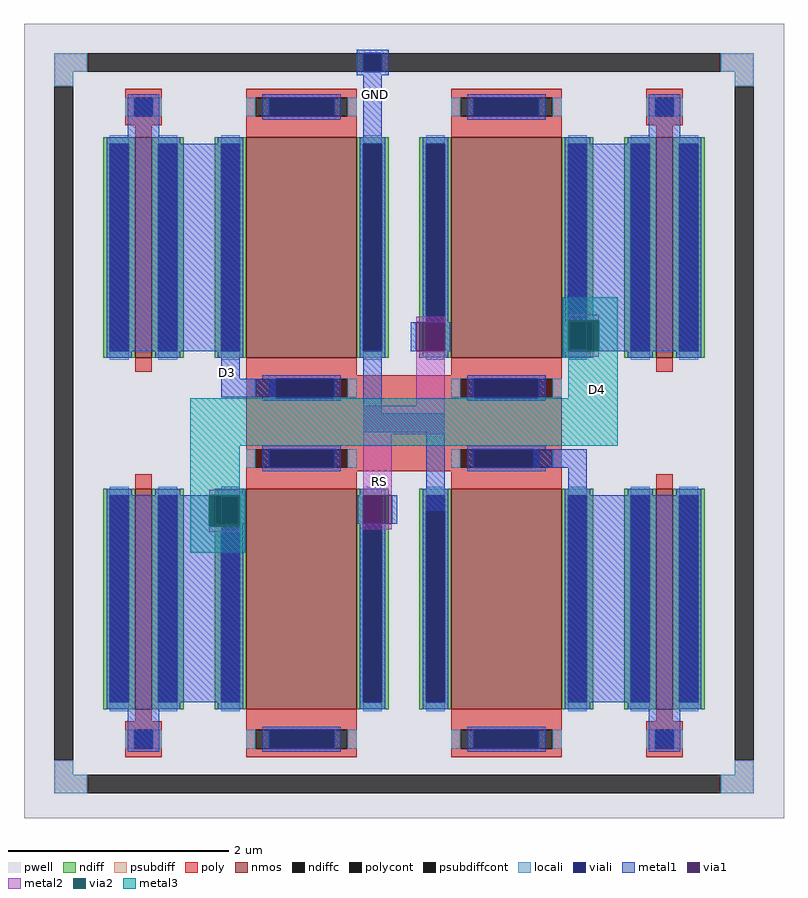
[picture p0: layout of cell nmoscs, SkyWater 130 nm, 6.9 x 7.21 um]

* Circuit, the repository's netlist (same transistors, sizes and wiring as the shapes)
** sch_path: /home/surya/opamp/mag/nmoscs.sch
.subckt nmoscs D3 D4 rs gnd
*.PININFO rs:B D3:B D4:B gnd:B
XM3 D3 D3 gnd gnd sky130_fd_pr__nfet_01v8 L=1 W=2 nf=1 m=2
XM4 D4 D3 rs gnd sky130_fd_pr__nfet_01v8 L=1 W=2 nf=1 m=2
XM1 D3 D3 D3 gnd sky130_fd_pr__nfet_01v8 L=0.15 W=2 nf=1 m=2
XM5 D4 D4 D4 gnd sky130_fd_pr__nfet_01v8 L=0.15 W=2 nf=1 m=2
.ends
.end

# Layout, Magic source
magic
tech sky130A
magscale 1 2
<< pwell >>
rect -346 -748 1034 694
<< psubdiff >>
rect -291 607 -231 641
rect 919 607 979 641
rect -291 581 -257 607
rect 945 581 979 607
rect -291 -669 -257 -643
rect 945 -669 979 -643
rect -291 -703 -231 -669
rect 919 -703 979 -669
<< psubdiffcont >>
rect -231 607 919 641
rect -291 -643 -257 581
rect 945 -643 979 581
rect -231 -703 919 -669
<< poly >>
rect 58 -118 630 56
<< locali >>
rect -291 607 -231 641
rect 919 607 979 641
rect -291 581 -257 607
rect -291 -669 -257 -643
rect 945 581 979 607
rect 945 -669 979 -643
rect -291 -703 -231 -669
rect 919 -703 979 -669
<< viali >>
rect 270 607 304 641
<< metal1 >>
rect 258 641 316 647
rect 258 607 270 641
rect 304 607 316 641
rect 258 601 316 607
rect -158 476 -100 566
rect 270 476 304 601
rect 788 476 846 566
rect -190 106 45 476
rect 642 152 878 476
rect -190 100 46 106
rect 12 50 46 100
rect 12 16 110 50
rect 270 -13 304 101
rect 356 100 366 152
rect 418 100 428 152
rect 632 100 642 152
rect 694 100 878 152
rect 270 -47 418 -13
rect -190 -214 -6 -162
rect 46 -214 56 -162
rect 260 -214 270 -162
rect 322 -214 332 -162
rect 384 -190 418 -47
rect 580 -112 676 -78
rect 642 -162 676 -112
rect -190 -538 46 -214
rect 642 -538 878 -162
rect -158 -628 -100 -538
rect 788 -628 846 -538
<< via1 >>
rect 366 100 418 152
rect 642 100 694 152
rect -6 -214 46 -162
rect 270 -214 322 -162
<< metal2 >>
rect 366 152 418 162
rect 366 1 418 100
rect 642 156 698 166
rect 642 90 698 100
rect 270 -51 418 1
rect -10 -162 46 -152
rect -10 -228 46 -218
rect 270 -162 322 -51
rect 270 -224 322 -214
<< via2 >>
rect 642 152 698 156
rect 642 100 694 152
rect 694 100 698 152
rect -10 -214 -6 -162
rect -6 -214 46 -162
rect -10 -218 46 -214
<< metal3 >>
rect 632 156 732 198
rect 632 100 642 156
rect 698 100 732 156
rect 632 88 732 100
rect 642 14 732 88
rect -44 -72 732 14
rect -44 -150 46 -72
rect -44 -162 56 -150
rect -44 -218 -10 -162
rect 46 -218 56 -162
rect -44 -266 56 -218
use sky130_fd_pr__nfet_01v8_7CP4KT  sky130_fd_pr__nfet_01v8_7CP4KT_0
transform 1 0 -129 0 1 319
box -73 -257 73 257
use sky130_fd_pr__nfet_01v8_7CP4KT  sky130_fd_pr__nfet_01v8_7CP4KT_1
transform 1 0 817 0 1 319
box -73 -257 73 257
use sky130_fd_pr__nfet_01v8_7CYQ2Z  sky130_fd_pr__nfet_01v8_7CYQ2Z_0
transform 1 0 817 0 1 -381
box -73 -257 73 257
use sky130_fd_pr__nfet_01v8_7CYQ2Z  sky130_fd_pr__nfet_01v8_7CYQ2Z_1
transform 1 0 -129 0 1 -381
box -73 -257 73 257
use sky130_fd_pr__nfet_01v8_8UMB6F  sky130_fd_pr__nfet_01v8_8UMB6F_0
transform 1 0 344 0 1 288
box -344 -288 344 288
use sky130_fd_pr__nfet_01v8_8UMB6F  sky130_fd_pr__nfet_01v8_8UMB6F_1
transform 1 0 344 0 1 -350
box -344 -288 344 288
<< labels >>
flabel metal1 24 61 24 61 0 FreeSans 1600 0 0 0 D3
port 0 nsew
flabel metal1 292 565 292 565 0 FreeSans 1600 0 0 0 GND
port 1 nsew
flabel metal2 299 -137 299 -137 0 FreeSans 1600 0 0 0 RS
port 2 nsew
flabel metal3 696 31 696 31 0 FreeSans 1600 0 0 0 D4
port 3 nsew
<< end >>

# cell sky130_fd_pr__nfet_01v8_7CP4KT: kit device sky130_fd_pr__nfet_01v8, w 2 l 0.150 m 1 nf 1 diffcov 100 polycov 100 guard 0 glc 1 grc 1 gtc 1 gbc 1 tbcov 100 rlcov 100 topc 1 botc 0 poverlap 0 doverlap 0 lmin 0.15 wmin 0.42 compatible {sky130_fd_pr__nfet_01v8 sky130_fd_pr__nfet_01v8_lvt sky130_fd_bs_flash__special_sonosfet_star sky130_fd_pr__nfet_g5v0d10v5 sky130_fd_pr__nfet_05v0_nvt sky130_fd_pr__nfet_03v3_nvt} full_metal 1 viasrc 100 viadrn 100 viagate 100 viagb 0 viagr 0 viagl 0 viagt 0

# cell sky130_fd_pr__nfet_01v8_7CYQ2Z: kit device sky130_fd_pr__nfet_01v8, w 2 l 0.150 m 1 nf 1 diffcov 100 polycov 100 guard 0 glc 1 grc 1 gtc 1 gbc 1 tbcov 100 rlcov 100 topc 0 botc 1 poverlap 0 doverlap 0 lmin 0.15 wmin 0.42 compatible {sky130_fd_pr__nfet_01v8 sky130_fd_pr__nfet_01v8_lvt sky130_fd_bs_flash__special_sonosfet_star sky130_fd_pr__nfet_g5v0d10v5 sky130_fd_pr__nfet_05v0_nvt sky130_fd_pr__nfet_03v3_nvt} full_metal 1 viasrc 100 viadrn 100 viagate 100 viagb 0 viagr 0 viagl 0 viagt 0

# cell sky130_fd_pr__nfet_01v8_8UMB6F: kit device sky130_fd_pr__nfet_01v8, w 2 l 1 m 1 nf 2 diffcov 100 polycov 100 guard 0 glc 1 grc 1 gtc 1 gbc 1 tbcov 100 rlcov 100 topc 1 botc 1 poverlap 0 doverlap 0 lmin 0.15 wmin 0.42 compatible {sky130_fd_pr__nfet_01v8 sky130_fd_pr__nfet_01v8_lvt sky130_fd_bs_flash__special_sonosfet_star sky130_fd_pr__nfet_g5v0d10v5 sky130_fd_pr__nfet_05v0_nvt sky130_fd_pr__nfet_03v3_nvt} full_metal 1 viasrc 100 viadrn 100 viagate 70 viagb 0 viagr 0 viagl 0 viagt 0
